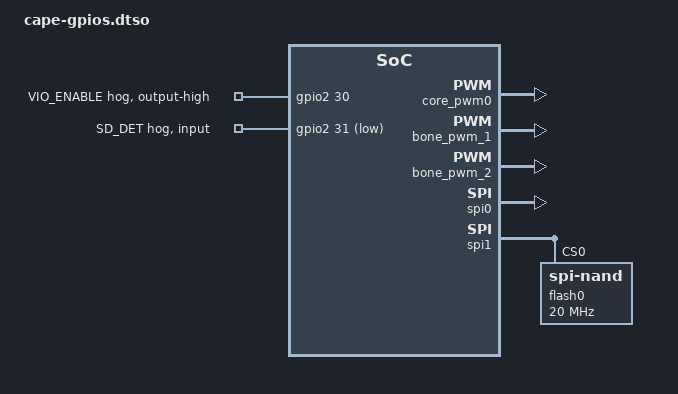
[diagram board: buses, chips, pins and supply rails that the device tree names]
// SPDX-License-Identifier: (GPL-2.0 OR MIT)
/* Copyright (c) 2020-2021 Microchip Technology Inc */

/dts-v1/;
/plugin/;

&{/chosen} {
	overlays {
		CLICK-BOARDS-CAPE-GATEWARE = "GATEWARE_GIT_VERSION";
	};
};

&{/} {
	fabric-bus@40000000 {
		core_pwm0: pwm@41000000 {
			compatible = "microchip,corepwm-rtl-v4";
			reg = <0x0 0x41000000 0x0 0xF0>;
			microchip,sync-update-mask = /bits/ 32 <0>;
			#pwm-cells = <3>;
			clocks = <&fabric_clk3>;
			status = "okay";
		};

		cape_gpios_p8: gpio@41100000 {
			compatible = "microchip,core-gpio";
			reg = <0x0 0x41100000 0x0 0x1000>;
			clocks = <&fabric_clk3>;
			gpio-controller;
			#gpio-cells = <2>;
			ngpios=<16>;
			status = "okay";
			gpio-line-names = "P8_31", "P8_32", "P8_33", "P8_34",
			                  "P8_35", "P8_36", "P8_37", "P8_38",
			                  "P8_39", "P8_40", "P8_41", "P8_42",
			                  "P8_43", "P8_44", "P8_45", "P8_46";
		};

		cape_gpios_p9: gpio@41200000 {
			compatible = "microchip,core-gpio";
			reg = <0x0 0x41200000 0x0 0x1000>;
			clocks = <&fabric_clk3>;
			gpio-controller;
			#gpio-cells = <2>;
			ngpios=<21>;
			status = "okay";
			gpio-line-names = "", "P9_12", "", "", "P9_15",
			                  "", "", "", "", "",
			                  "P9_23", "", "P9_25", "", "P9_27",
			                  "", "", "P9_30", "", "P9_41",
			                  "";
		};

		bone_pwm_1: pwm@41400000 {
			compatible = "microchip,corepwm-rtl-v4";
			reg = <0x0 0x41400000 0x0 0xF0>;
			microchip,sync-update-mask = /bits/ 32 <0>;
			#pwm-cells = <3>;
            status = "okay";
			clocks = <&fabric_clk3>;
		};

		bone_pwm_2: pwm@41500000 {
			compatible = "microchip,corepwm-rtl-v4";
			reg = <0x0 0x41500000 0x0 0xF0>;
			microchip,sync-update-mask = /bits/ 32 <0>;
			#pwm-cells = <3>;
            status = "okay";
			clocks = <&fabric_clk3>;
		};
	};
};

&gpio2 {
	interrupts = <53>, <53>, <53>, <53>,
		     <53>, <53>, <53>, <53>,
		     <53>, <53>, <53>, <53>,
		     <53>, <53>, <53>, <53>,
		     <53>, <53>, <53>, <53>,
		     <53>, <53>, <53>, <53>,
		     <53>, <53>, <53>, <53>,
		     <53>, <53>, <53>, <53>;
	gpio-line-names = "P8_3_USER_LED_0", "P8_4_USER_LED_1", "P8_5_USER_LED_2",
					"P8_6_USER_LED_3", "P8_7_USER_LED_4", "P8_8_USER_LED_5",
					"P8_9_USER_LED_6", "P8_10_USER_LED_7", "P8_11_USER_LED_8",
					"P8_12_USER_LED_9", "", "P8_14_USER_LED_11",
					"P8_15", "P8_16", "P8_17", "P8_18", "",
					"P8_20", "P8_21", "P8_22",	"P8_23", "P8_24",
					"P8_25", "P8_26", "P8_27", "P8_28", "P8_29",
					"P8_30",
					"M2_W_DISABLE1", "M2_W_DISABLE2",
					"VIO_ENABLE", "SD_DET";
	status = "okay";

	vio_enable {
		gpio-hog;
		gpios = <30 30>;
		output-high;
		line-name = "VIO_ENABLE";
	};

	sd_det {
		gpio-hog;
		gpios = <31 31>;
		input;
		line-name = "SD_DET";
	};
};

&mmuart2 {
	status = "okay";
	symlink = "bone/uart/1";
};

&mmuart4 {
	status = "okay";
	symlink = "bone/uart/4";
};

&spi0 {
	status = "okay";
	symlink = "bone/spi/0";
};

&spi1 {
	status = "okay";
	symlink = "bone/spi/1";
	num-cs = <1>;
	flash0: spi-nand@0 {
		compatible = "spi-nand";
		reg = <0x0>;
		spi-tx-bus-width = <1>;
		spi-rx-bus-width = <1>;
		spi-max-frequency = <20000000>;
		spi-cpol;
		spi-cpha;
	};
};
